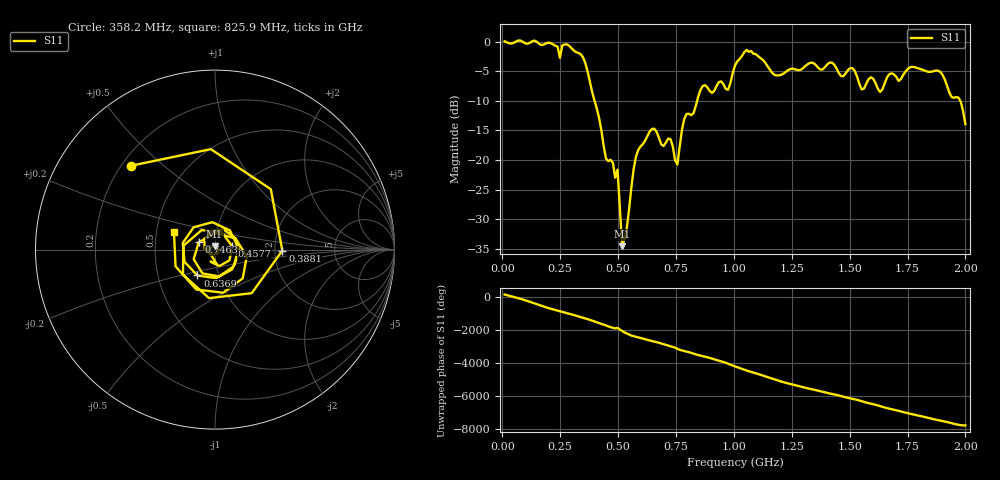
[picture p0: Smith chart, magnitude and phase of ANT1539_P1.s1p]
!Created with skrf (http://scikit-rf.org).
# Hz S RI R 50.0
!freq ReS11 ImS11
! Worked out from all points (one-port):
!   201 points, 10 MHz to 2 GHz, reference 50 ohm
!   lowest |S11| = -34.6 dB at 517.5 MHz (marker M1), VSWR 1.04, Z = 49.8 + j1.85 ohm
!   |S11| at or under -10 dB: 398.3 MHz to 841.5 MHz (443.2 MHz wide, 71.5 % of centre); 1.978 GHz to end of sweep
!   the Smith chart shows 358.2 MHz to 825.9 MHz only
!   S11 on the Smith chart (normalised r, x): 358.2 MHz: 0.24, +0.39; 388.1 MHz: 2.20, -0.03; 457.8 MHz: 1.21, +0.04; 636.9 MHz: 0.79, -0.24; 746.3 MHz: 0.83, +0.07; 825.9 MHz: 0.62, +0.13
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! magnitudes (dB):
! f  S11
! 10 MHz  0.0
! 248.8 MHz  -2.8
! 258.8 MHz  -0.7
! 358.2 MHz  -3.6
! 388.1 MHz  -8.5
! 457.8 MHz  -20.2
! 497.6 MHz  -21.6
! 507.5 MHz  -27.8
! 517.5 MHz  -34.6
! 577.1 MHz  -19.5
! 636.9 MHz  -15.2
! 726.4 MHz  -16.5
! 746.3 MHz  -20.1
! 756.2 MHz  -20.8
! 786.1 MHz  -13.0
! 825.9 MHz  -12.1
! 865.7 MHz  -7.5
! 975.1 MHz  -8.1
! 1.005 GHz  -4.1
! 1.055 GHz  -1.4
! 1.174 GHz  -5.6
! 1.254 GHz  -4.6
! 1.502 GHz  -4.5
! 1.632 GHz  -8.5
! 1.751 GHz  -4.6
! 1.891 GHz  -5.1
! 1.98 GHz  -10.2
! 2 GHz  -13.9
